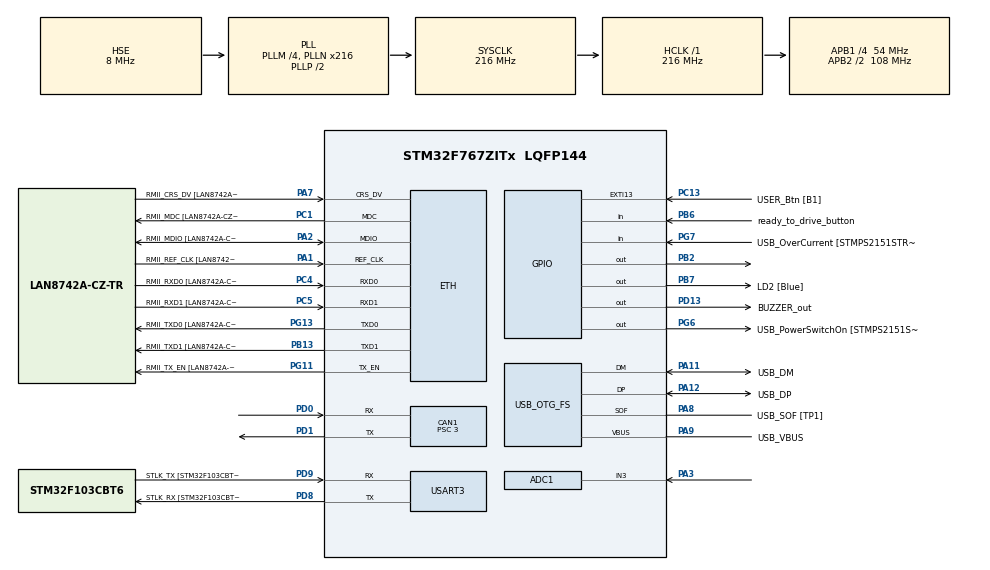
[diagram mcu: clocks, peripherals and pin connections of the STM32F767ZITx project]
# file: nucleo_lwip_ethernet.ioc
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ADC1.Channel-5\#ChannelRegularConversion=ADC_CHANNEL_3
ADC1.NbrOfConversionFlag=1
ADC1.Rank-5\#ChannelRegularConversion=1
ADC1.SamplingTime-5\#ChannelRegularConversion=ADC_SAMPLETIME_3CYCLES
ADC1.master=1
CAN1.BS1=CAN_BS1_15TQ
CAN1.BS2=CAN_BS2_2TQ
CAN1.CalculateTimeQuantum=55.55555555555556
CAN1.Prescaler=3
CAN1.TTCM=ENABLE
CAN1.TXFP=ENABLE
ETH.MediaInterface=ETH_MEDIA_INTERFACE_RMII
ETH.PHY_Name=LAN8742A_PHY_ADDRESS
ETH.PHY_Value=0
ETH.PhyAddress=0
LWIP.IP_ADDRESS=192.168.001.051
LWIP.LWIP_DHCP=0
LWIP.LWIP_HTTPD=0
LWIP.NETMASK_ADDRESS=255.255.255.000
LWIP.Version=v2.0.3_Cube
Mcu.Family=STM32F7
Mcu.Name=STM32F767ZITx
Mcu.Package=LQFP144
NVIC.CAN1_RX0_IRQn=true\:0\:0\:false\:false\:true\:true
NVIC.CAN1_RX1_IRQn=true\:0\:0\:false\:false\:true\:true
NVIC.CAN1_SCE_IRQn=true\:0\:0\:false\:false\:true\:true
NVIC.CAN1_TX_IRQn=true\:0\:0\:false\:false\:true\:true
NVIC.ETH_IRQn=true\:0\:0\:false\:false\:true\:true
NVIC.PriorityGroup=NVIC_PRIORITYGROUP_4
PA1.GPIO_Label=RMII_REF_CLK [LAN8742A-CZ-TR_REFCLK0]
PA1.Mode=RMII
PA1.Signal=ETH_REF_CLK
PA10.GPIO_Label=USB_ID
PA10.Signal=USB_OTG_FS_ID
PA11.GPIO_Label=USB_DM
PA11.Mode=Device_Only
PA11.Signal=USB_OTG_FS_DM
PA12.GPIO_Label=USB_DP
PA12.Mode=Device_Only
PA12.Signal=USB_OTG_FS_DP
PA13.GPIO_Label=TMS
PA13.Mode=Serial_Wire
PA13.Signal=SYS_JTMS-SWDIO
PA14.GPIO_Label=TCK
PA14.Mode=Serial_Wire
PA14.Signal=SYS_JTCK-SWCLK
PA2.GPIO_Label=RMII_MDIO [LAN8742A-CZ-TR_MDIO]
PA2.Mode=RMII
PA2.Signal=ETH_MDIO
PA3.Signal=ADCx_IN3
PA7.GPIO_Label=RMII_CRS_DV [LAN8742A-CZ-TR_CRS_DV]
PA7.Mode=RMII
PA7.Signal=ETH_CRS_DV
PA8.GPIO_Label=USB_SOF [TP1]
PA8.Mode=Activate_SOF_FS
PA8.Signal=USB_OTG_FS_SOF
PA9.GPIO_Label=USB_VBUS
PA9.Mode=Activate_VBUS
PA9.Signal=USB_OTG_FS_VBUS
PB13.GPIO_Label=RMII_TXD1 [LAN8742A-CZ-TR_TXD1]
PB13.Mode=RMII
PB13.Signal=ETH_TXD1
PB2.Signal=GPIO_Output
PB3.GPIO_Label=SWO
PB3.Signal=SYS_JTDO-SWO
PB6.GPIO_Label=ready_to_drive_button
PB6.GPIO_PuPd=GPIO_PULLDOWN
PB6.Signal=GPIO_Input
PB7.GPIO_Label=LD2 [Blue]
PB7.Signal=GPIO_Output
PC1.GPIO_Label=RMII_MDC [LAN8742A-CZ-TR_MDC]
PC1.Mode=RMII
PC1.Signal=ETH_MDC
PC13.GPIO_Label=USER_Btn [B1]
PC13.Signal=GPXTI13
PC14/OSC32_IN.Mode=LSE-External-Oscillator
PC14/OSC32_IN.Signal=RCC_OSC32_IN
PC15/OSC32_OUT.Mode=LSE-External-Oscillator
PC15/OSC32_OUT.Signal=RCC_OSC32_OUT
PC4.GPIO_Label=RMII_RXD0 [LAN8742A-CZ-TR_RXD0]
PC4.Mode=RMII
PC4.Signal=ETH_RXD0
PC5.GPIO_Label=RMII_RXD1 [LAN8742A-CZ-TR_RXD1]
PC5.Mode=RMII
PC5.Signal=ETH_RXD1
PD0.Mode=Master
PD0.Signal=CAN1_RX
PD1.Mode=Master
PD1.Signal=CAN1_TX
PD13.GPIO_Label=BUZZER_out
PD13.GPIO_PuPd=GPIO_NOPULL
PD13.Signal=GPIO_Output
PD8.GPIO_Label=STLK_RX [STM32F103CBT6_PA3]
PD8.Mode=Asynchronous
PD8.Signal=USART3_TX
PD9.GPIO_Label=STLK_TX [STM32F103CBT6_PA2]
PD9.Mode=Asynchronous
PD9.Signal=USART3_RX
PG11.GPIO_Label=RMII_TX_EN [LAN8742A-CZ-TR_TXEN]
PG11.Mode=RMII
PG11.Signal=ETH_TX_EN
PG13.GPIO_Label=RMII_TXD0 [LAN8742A-CZ-TR_TXD0]
PG13.Mode=RMII
PG13.Signal=ETH_TXD0
PG6.GPIO_Label=USB_PowerSwitchOn [STMPS2151STR_EN]
PG6.Signal=GPIO_Output
PG7.GPIO_Label=USB_OverCurrent [STMPS2151STR_FAULT]
PG7.Signal=GPIO_Input
PH0/OSC_IN.GPIO_Label=MCO [STM32F103CBT6_PA8]
PH0/OSC_IN.Mode=HSE-External-Clock-Source
PH0/OSC_IN.Signal=RCC_OSC_IN
PH1/OSC_OUT.Mode=HSE-External-Clock-Source
PH1/OSC_OUT.Signal=RCC_OSC_OUT
ProjectManager.HeapSize=0x200
ProjectManager.StackSize=0x400
ProjectManager.TargetToolchain=SW4STM32
RCC.48MHZClocksFreq_Value=24000000
RCC.AHBFreq_Value=216000000
RCC.APB1CLKDivider=RCC_HCLK_DIV4
RCC.APB1Freq_Value=54000000
RCC.APB1TimFreq_Value=108000000
RCC.APB2CLKDivider=RCC_HCLK_DIV2
RCC.APB2Freq_Value=108000000
RCC.APB2TimFreq_Value=216000000
RCC.CortexFreq_Value=216000000
RCC.HCLKFreq_Value=216000000
RCC.HSE_VALUE=8000000
RCC.HSI_VALUE=16000000
RCC.PLLM=4
RCC.PLLMUL=RCC_PLL_MUL9
RCC.PLLN=216
RCC.PLLQ=9
RCC.PRESCALERUSB=RCC_USBCLKSOURCE_PLL_DIV1_5
RCC.SYSCLKFreq_VALUE=216000000
RCC.SYSCLKSource=RCC_SYSCLKSOURCE_PLLCLK
RCC.SYSCLKSourceVirtual=RCC_SYSCLKSOURCE_PLLCLK
RCC.USBFreq_Value=48000000
RCC.VCOOutputFreq_Value=432000000
SH.ADCx_IN3.0=ADC1_IN3,IN3
USART3.VirtualMode-Asynchronous=VM_ASYNC
USART3.WordLength=WORDLENGTH_8B
USB_OTG_FS.VirtualMode=Device_Only
VP_LWIP_VS_Enabled.Mode=Enabled
board=NUCLEO-F767ZI

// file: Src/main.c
/**
  ******************************************************************************
  * @file           : main.c
  * @brief          : Main program body
  ******************************************************************************
  * This notice applies to any and all portions of this file
  * that are not between comment pairs USER CODE BEGIN and
  * USER CODE END. Other portions of this file, whether
  * inserted by the user or by software development tools
  * are owned by their respective copyright owners.
  *
  * Copyright (c) 2019 STMicroelectronics International N.V.
  * All rights reserved.
  *
  * Redistribution and use in source and binary forms, with or without
  * modification, are permitted, provided that the following conditions are met:
  *
  * 1. Redistribution of source code must retain the above copyright notice,
  *    this list of conditions and the following disclaimer.
  * 2. Redistributions in binary form must reproduce the above copyright notice,
  *    this list of conditions and the following disclaimer in the documentation
  *    and/or other materials provided with the distribution.
  * 3. Neither the name of STMicroelectronics nor the names of other
  *    contributors to this software may be used to endorse or promote products
  *    derived from this software without specific written permission.
  * 4. This software, including modifications and/or derivative works of this
  *    software, must execute solely and exclusively on microcontroller or
  *    microprocessor devices manufactured by or for STMicroelectronics.
  * 5. Redistribution and use of this software other than as permitted under
  *    this license is void and will automatically terminate your rights under
  *    this license.
  *
  * THIS SOFTWARE IS PROVIDED BY STMICROELECTRONICS AND CONTRIBUTORS "AS IS"
  * AND ANY EXPRESS, IMPLIED OR STATUTORY WARRANTIES, INCLUDING, BUT NOT
  * LIMITED TO, THE IMPLIED WARRANTIES OF MERCHANTABILITY, FITNESS FOR A
  * PARTICULAR PURPOSE AND NON-INFRINGEMENT OF THIRD PARTY INTELLECTUAL PROPERTY
  * RIGHTS ARE DISCLAIMED TO THE FULLEST EXTENT PERMITTED BY LAW. IN NO EVENT
  * SHALL STMICROELECTRONICS OR CONTRIBUTORS BE LIABLE FOR ANY DIRECT, INDIRECT,
  * INCIDENTAL, SPECIAL, EXEMPLARY, OR CONSEQUENTIAL DAMAGES (INCLUDING, BUT NOT
  * LIMITED TO, PROCUREMENT OF SUBSTITUTE GOODS OR SERVICES; LOSS OF USE, DATA,
  * OR PROFITS; OR BUSINESS INTERRUPTION) HOWEVER CAUSED AND ON ANY THEORY OF
  * LIABILITY, WHETHER IN CONTRACT, STRICT LIABILITY, OR TORT (INCLUDING
  * NEGLIGENCE OR OTHERWISE) ARISING IN ANY WAY OUT OF THE USE OF THIS SOFTWARE,
  * EVEN IF ADVISED OF THE POSSIBILITY OF SUCH DAMAGE.
  *
  ******************************************************************************
  */
#include "main.h"
#include "stm32f7xx_hal.h"
#include "lwip.h"

/* USER CODE BEGIN Includes */
#include  <errno.h>
#include  <sys/unistd.h> // STDOUT_FILENO, STDERR_FILENO
#include  <stdlib.h>
#include  <stdio.h>
#include  <stm32f7xx_hal_can.h>
#include "can.h"
//https://www.st.com/content/ccc/resource/technical/document/reference_manual/group0/96/8b/0d/ec/16/22/43/71/DM00224583/files/DM00224583.pdf/jcr:content/translations/en.DM00224583.pdf
/* USER CODE END Includes */

ADC_HandleTypeDef hadc1;

CAN_HandleTypeDef hcan1;

UART_HandleTypeDef huart3;

PCD_HandleTypeDef hpcd_USB_OTG_FS;

/* USER CODE BEGIN PV */
/* Private variables ---------------------------------------------------------*/

//===================== ETH ============================

ip4_addr_t destIPAddr;

//===================== CAN ============================
volatile unsigned char CAN_1_Rx_received_flg = 0x00;
volatile unsigned char CAN_1_RecData[8];
unsigned long CAN_1_specific_id_test  = 0x00;
unsigned long CAN_1_temp_id;
unsigned int  CAN_1_eid;
unsigned int  CAN_1_sid;
uint32_t CAN_1_ide;
uint32_t CAN_1_rtr;
uint32_t CAN_1_dlc;
uint32_t CAN_1_fmi;
volatile unsigned car_state;
volatile uint32_t tickstart = 0U;

//==================== TIME =========================
volatile unsigned char	Time_1_Ms_Flag = 0x00;
volatile unsigned char	Time_5_Ms_Flag = 0x00;
volatile unsigned char	Time_1_Se_Flag = 0x00;
//==================== KEEP =========================
volatile unsigned char	Keep_80[16];
volatile unsigned char	Keep_420[16];

//==================== FLAG =========================

volatile unsigned char brak_flag = 0x00;
volatile unsigned char motor_LEFT = 0x00;
volatile unsigned char motor_RIGHT = 0x00;

//==================== MAIN var =====================
volatile unsigned int count = 0;
static void init_CAN1_BGR(void);
#if 0
/*aviciis code BEGIN*/
uint32_t val;
uint32_t output;
double max_val = MAXIMUM_VAL;
double min_val = MINIMUM_VAL;
double scale = OUTPUT_SCALE;
char answer;
/*aviciis code END*/
#endif

/* USER CODE END PV */

void SystemClock_Config(void);
static void MX_GPIO_Init(void);
static void MX_USART3_UART_Init(void);
static void MX_USB_OTG_FS_PCD_Init(void);
static void MX_CAN1_Init(void);
static void MX_ADC1_Init(void);

/* USER CODE BEGIN PFP */
/* Private function prototypes -----------------------------------------------*/
int _write(int file, char *ptr, int len);
/* USER CODE END PFP */

int main(void)
{
  /* USER CODE BEGIN 1 */

	//while(1);
  /* USER CODE END 1 */

  /* MCU Configuration----------------------------------------------------------*/

  /* Reset of all peripherals, Initializes the Flash interface and the Systick. */
  HAL_Init();

  /* Configure the system clock */
  SystemClock_Config();

  /* USER CODE BEGIN SysInit */
#if 0
  /* USER CODE END SysInit */

  /* Initialize all configured peripherals */
  MX_GPIO_Init();
  MX_USART3_UART_Init();
  MX_USB_OTG_FS_PCD_Init();
  MX_LWIP_Init();
  MX_CAN1_Init();
  MX_ADC1_Init();
  /* USER CODE BEGIN 2 */
#endif

  MX_GPIO_Init();
  MX_USART3_UART_Init();
  MX_LWIP_Init();
  MX_ADC1_Init();
  init_CAN1_BGR();

	HAL_GPIO_WritePin( GPIOB , GPIO_PIN_2|LD2_Pin , GPIO_PIN_RESET);

  //============= CAN ===================
      __HAL_CAN_ENABLE_IT(&hcan1,CAN_IT_RX_FIFO0_MSG_PENDING);
      HAL_CAN_Start( &hcan1 );
  #if 1
  // standart CAN message by elik
      /* Set up the Id */
      CAN1->sTxMailBox[1U].TIR =  ((  0x80   << 21U) |  0);
      /* Set up the DLC */
      CAN1->sTxMailBox[1U].TDTR &= 0xFFFFFFF0U;
      CAN1->sTxMailBox[1U].TDTR |= 0x00000008U;
      /* Set up the data field */

      CAN1->sTxMailBox[1U].TDLR =  (0xAA << 24U) |  (0x55 << 16U) |(0xAA << 8U) | (0x55 );
      CAN1->sTxMailBox[1U].TDHR =  (0xA5 << 24U) |  (0x5A << 16U) |(0xA5 << 8U) | (0x5A );
      /* Request transmission */
      CAN1->sTxMailBox[1U].TIR  |=  CAN_TI0R_TXRQ;

  #endif

//================== ETH ==================
IP4_ADDR(&destIPAddr,192,168,1,49);

Start_Motor_1(); //set motor off
Start_Motor_2(); //set motor off

car_state = DRIVE; // initial the state; TODO write the value to the flash a

#if 1 //debug
motor_LEFT = 1;
motor_RIGHT = 1;
#endif

  /* USER CODE END 2 */

  /* Infinite loop */
  /* USER CODE BEGIN WHILE */
while(1){

	//if(can_reacive)
	//get meassage

	if( Time_5_Ms_Flag ){

		Time_5_Ms_Flag = 0x00;

 		if(Keep_420[1] == 0x00){

     		Keep_420[1] = 0x01;
 		}
 		else{
 			HAL_GPIO_WritePin( GPIOB , GPIO_PIN_2 , GPIO_PIN_SET);
 		}

		// standart CAN message by elik
		/* Set up the Id */
		CAN1->sTxMailBox[0U].TIR =  ((  0x420   << 21U) |  0);
		/* Set up the DLC */
		CAN1->sTxMailBox[0U].TDTR &= 0xFFFFFFF0U;

		CAN1->sTxMailBox[0U].TDTR |= 0x00000000U;
		/* Set up the data field */
		//CAN1->sTxMailBox[0U].TDLR =  (0xAA << 24U) |  (0x55 << 16U) |(0xAA << 8U) | (0x55 );
		//CAN1->sTxMailBox[0U].TDHR =  (0xA5 << 24U) |  (0x5A << 16U) |(0xA5 << 8U) | (0x5A );
		/* Request transmission */
		CAN1->sTxMailBox[0U].TIR  |=  CAN_TI0R_TXRQ;
	}
	if( Time_1_Se_Flag ){

 		if(Keep_80[1] == 0x00){

     		Keep_80[1] = 0x01;
 		}
 		else{
 			HAL_GPIO_WritePin( GPIOB , GPIO_PIN_2 , GPIO_PIN_SET);
 		}
		Time_1_Se_Flag = 0x00;

		// standart CAN message by elik
		/* Set up the Id */
		CAN1->sTxMailBox[1U].TIR =  ((  0x80   << 21U) |  0);
		/* Set up the DLC */
		CAN1->sTxMailBox[1U].TDTR &= 0xFFFFFFF0U;
		CAN1->sTxMailBox[1U].TDTR |= 0x00000008U;
		/* Set up the data field */
		CAN1->sTxMailBox[1U].TDLR =  (0xAA << 24U) |  (0x55 << 16U) |(0xAA << 8U) | (0x55 );
		CAN1->sTxMailBox[1U].TDHR =  (0xA5 << 24U) |  (0x5A << 16U) |(0xA5 << 8U) | (0x5A );
		/* Request transmission */
		CAN1->sTxMailBox[1U].TIR  |=  CAN_TI0R_TXRQ;

		//ask for motor state
		ASK_Motor_1();
		ASK_Motor_2();

	}

	MX_LWIP_Process();

	switch(car_state) // set the car state -- idle ready to drive
	{
	case NUTRAL:
		//if button is push and pedal value is on then move to IGNITION_TO_DRIVE
		if((HAL_GPIO_ReadPin(GPIOB,ready_to_drive_button_Pin)==1) && brak_flag) //=> Button is Pressed
			if(motor_LEFT & motor_RIGHT){
				car_state = IGNITION_TO_DRIVE;
				count = 0;
				tickstart = HAL_GetTick();
				printf("\rpress \n");
			}
		//set motor on
		break;
	case IGNITION_TO_DRIVE:
		printf("ready_to_drive_button_Pin %d brak_flag %d",HAL_GPIO_ReadPin(GPIOB,ready_to_drive_button_Pin) ,brak_flag );
		if((HAL_GPIO_ReadPin(GPIOB,ready_to_drive_button_Pin)==1) && brak_flag ){// && motor_RIGHT && motor_LEFT){ //=> Button is Pressed
			 if ((HAL_GetTick() - tickstart) > 3000U){
					car_state = BUZZER;
					tickstart = HAL_GetTick();
				}
		}
		else
		{
			printf("\DEBUG \n");
			car_state = NUTRAL;
			Start_Motor_1(); //set motor off
			Start_Motor_2(); //set motor off
		}
		//if button is push and pedal value is on and motor state is MO=1 then waite for 100 iteration , and then move to ready to drive state
		break;
	case BUZZER:
		 HAL_GPIO_WritePin(BUZZER_out_GPIO_Port, BUZZER_out_Pin, GPIO_PIN_SET);
		 if ((HAL_GetTick() - tickstart) > 2000U){
			 HAL_GPIO_WritePin(BUZZER_out_GPIO_Port, BUZZER_out_Pin, GPIO_PIN_RESET);
			 car_state = DRIVE; }
		break;
	case DRIVE:
		printf("\rDRIVE \n");
		asm("NOP");
		asm("NOP");
		asm("NOP");

		break;
	case ERROR: break;
	}

  //HAL_Delay(1000);
  //send_msg_to_start_L();
  //send_msg_to_start_R();

#if 0
  scale = 12;

  {
	HAL_ADC_Start(&hadc1);
	val=HAL_ADC_GetValue(&hadc1);
	output=( (val-min_val) / (max_val-min_val) ) * 2*scale;
	//if(output < ) output = 0;
	//output = 0;

	//answer=(char)output+48;
	answer=(char)output;
	//answer = '5';
	asm("NOP");
	printf("\rpedal value %u \n",output);
	send_msg_to_dest(answer);
	send_msg_to_dest2(answer);
	//send_msg_to_dest_R(answer);
	//send_msg_to_dest_L(answer);
#endif
  /* USER CODE END WHILE */

  /* USER CODE BEGIN 3 */

	 // MX_LWIP_Process();
	  //HAL_Delay(5);

  }
  /* USER CODE END 3 */

}

void SystemClock_Config(void)
{

  RCC_OscInitTypeDef RCC_OscInitStruct;
  RCC_ClkInitTypeDef RCC_ClkInitStruct;
  RCC_PeriphCLKInitTypeDef PeriphClkInitStruct;

    /**Configure the main internal regulator output voltage
    */
  __HAL_RCC_PWR_CLK_ENABLE();

  __HAL_PWR_VOLTAGESCALING_CONFIG(PWR_REGULATOR_VOLTAGE_SCALE1);

    /**Initializes the CPU, AHB and APB busses clocks
    */
  RCC_OscInitStruct.OscillatorType = RCC_OSCILLATORTYPE_HSE;
  RCC_OscInitStruct.HSEState = RCC_HSE_BYPASS;
  RCC_OscInitStruct.PLL.PLLState = RCC_PLL_ON;
  RCC_OscInitStruct.PLL.PLLSource = RCC_PLLSOURCE_HSE;
  RCC_OscInitStruct.PLL.PLLM = 4;
  RCC_OscInitStruct.PLL.PLLN = 216;
  RCC_OscInitStruct.PLL.PLLP = RCC_PLLP_DIV2;
  RCC_OscInitStruct.PLL.PLLQ = 9;
  if (HAL_RCC_OscConfig(&RCC_OscInitStruct) != HAL_OK)
  {
    _Error_Handler(__FILE__, __LINE__);
  }

    /**Activate the Over-Drive mode
    */
  if (HAL_PWREx_EnableOverDrive() != HAL_OK)
  {
    _Error_Handler(__FILE__, __LINE__);
  }

    /**Initializes the CPU, AHB and APB busses clocks
    */
  RCC_ClkInitStruct.ClockType = RCC_CLOCKTYPE_HCLK|RCC_CLOCKTYPE_SYSCLK
                              |RCC_CLOCKTYPE_PCLK1|RCC_CLOCKTYPE_PCLK2;
  RCC_ClkInitStruct.SYSCLKSource = RCC_SYSCLKSOURCE_PLLCLK;
  RCC_ClkInitStruct.AHBCLKDivider = RCC_SYSCLK_DIV1;
  RCC_ClkInitStruct.APB1CLKDivider = RCC_HCLK_DIV4;
  RCC_ClkInitStruct.APB2CLKDivider = RCC_HCLK_DIV2;

  if (HAL_RCC_ClockConfig(&RCC_ClkInitStruct, FLASH_LATENCY_7) != HAL_OK)
  {
    _Error_Handler(__FILE__, __LINE__);
  }

  PeriphClkInitStruct.PeriphClockSelection = RCC_PERIPHCLK_USART3|RCC_PERIPHCLK_CLK48;
  PeriphClkInitStruct.Usart3ClockSelection = RCC_USART3CLKSOURCE_PCLK1;
  PeriphClkInitStruct.Clk48ClockSelection = RCC_CLK48SOURCE_PLL;
  if (HAL_RCCEx_PeriphCLKConfig(&PeriphClkInitStruct) != HAL_OK)
  {
    _Error_Handler(__FILE__, __LINE__);
  }

    /**Configure the Systick interrupt time
    */
  HAL_SYSTICK_Config(HAL_RCC_GetHCLKFreq()/1000);

    /**Configure the Systick
    */
  HAL_SYSTICK_CLKSourceConfig(SYSTICK_CLKSOURCE_HCLK);

  /* SysTick_IRQn interrupt configuration */
  HAL_NVIC_SetPriority(SysTick_IRQn, 0, 0);
}

/* ADC1 init function */
static void MX_ADC1_Init(void)
{

  ADC_ChannelConfTypeDef sConfig;

    /**Configure the global features of the ADC (Clock, Resolution, Data Alignment and number of conversion)
    */
  hadc1.Instance = ADC1;
  hadc1.Init.ClockPrescaler = ADC_CLOCK_SYNC_PCLK_DIV4;
  hadc1.Init.Resolution = ADC_RESOLUTION_12B;
  hadc1.Init.ScanConvMode = DISABLE;
  hadc1.Init.ContinuousConvMode = DISABLE;
  hadc1.Init.DiscontinuousConvMode = DISABLE;
  hadc1.Init.ExternalTrigConvEdge = ADC_EXTERNALTRIGCONVEDGE_NONE;
  hadc1.Init.ExternalTrigConv = ADC_SOFTWARE_START;
  hadc1.Init.DataAlign = ADC_DATAALIGN_RIGHT;
  hadc1.Init.NbrOfConversion = 1;
  hadc1.Init.DMAContinuousRequests = DISABLE;
  hadc1.Init.EOCSelection = ADC_EOC_SINGLE_CONV;
  if (HAL_ADC_Init(&hadc1) != HAL_OK)
  {
    _Error_Handler(__FILE__, __LINE__);
  }

    /**Configure for the selected ADC regular channel its corresponding rank in the sequencer and its sample time.
    */
  sConfig.Channel = ADC_CHANNEL_3;
  sConfig.Rank = ADC_REGULAR_RANK_1;
  sConfig.SamplingTime = ADC_SAMPLETIME_3CYCLES;
  if (HAL_ADC_ConfigChannel(&hadc1, &sConfig) != HAL_OK)
  {
    _Error_Handler(__FILE__, __LINE__);
  }

}

/* CAN1 init function */
static void MX_CAN1_Init(void)
{

  hcan1.Instance = CAN1;
  hcan1.Init.Prescaler = 3;
  hcan1.Init.Mode = CAN_MODE_NORMAL;
  hcan1.Init.SyncJumpWidth = CAN_SJW_1TQ;
  hcan1.Init.TimeSeg1 = CAN_BS1_15TQ;
  hcan1.Init.TimeSeg2 = CAN_BS2_2TQ;
  hcan1.Init.TimeTriggeredMode = ENABLE;
  hcan1.Init.AutoBusOff = DISABLE;
  hcan1.Init.AutoWakeUp = DISABLE;
  hcan1.Init.AutoRetransmission = DISABLE;
  hcan1.Init.ReceiveFifoLocked = DISABLE;
  hcan1.Init.TransmitFifoPriority = ENABLE;
  if (HAL_CAN_Init(&hcan1) != HAL_OK)
  {
    _Error_Handler(__FILE__, __LINE__);
  }

}

/* USART3 init function */
static void MX_USART3_UART_Init(void)
{

  huart3.Instance = USART3;
  huart3.Init.BaudRate = 115200;
  huart3.Init.WordLength = UART_WORDLENGTH_8B;
  huart3.Init.StopBits = UART_STOPBITS_1;
  huart3.Init.Parity = UART_PARITY_NONE;
  huart3.Init.Mode = UART_MODE_TX_RX;
  huart3.Init.HwFlowCtl = UART_HWCONTROL_NONE;
  huart3.Init.OverSampling = UART_OVERSAMPLING_16;
  huart3.Init.OneBitSampling = UART_ONE_BIT_SAMPLE_DISABLE;
  huart3.AdvancedInit.AdvFeatureInit = UART_ADVFEATURE_NO_INIT;
  if (HAL_UART_Init(&huart3) != HAL_OK)
  {
    _Error_Handler(__FILE__, __LINE__);
  }

}

/* USB_OTG_FS init function */
static void MX_USB_OTG_FS_PCD_Init(void)
{

  hpcd_USB_OTG_FS.Instance = USB_OTG_FS;
  hpcd_USB_OTG_FS.Init.dev_endpoints = 6;
  hpcd_USB_OTG_FS.Init.speed = PCD_SPEED_FULL;
  hpcd_USB_OTG_FS.Init.dma_enable = DISABLE;
  hpcd_USB_OTG_FS.Init.ep0_mps = DEP0CTL_MPS_64;
  hpcd_USB_OTG_FS.Init.phy_itface = PCD_PHY_EMBEDDED;
  hpcd_USB_OTG_FS.Init.Sof_enable = ENABLE;
  hpcd_USB_OTG_FS.Init.low_power_enable = DISABLE;
  hpcd_USB_OTG_FS.Init.lpm_enable = DISABLE;
  hpcd_USB_OTG_FS.Init.vbus_sensing_enable = ENABLE;
  hpcd_USB_OTG_FS.Init.use_dedicated_ep1 = DISABLE;
  if (HAL_PCD_Init(&hpcd_USB_OTG_FS) != HAL_OK)
  {
    _Error_Handler(__FILE__, __LINE__);
  }

}

/** Configure pins as
        * Analog
        * Input
        * Output
        * EVENT_OUT
        * EXTI
*/
static void MX_GPIO_Init(void)
{

  GPIO_InitTypeDef GPIO_InitStruct;

  /* GPIO Ports Clock Enable */
  __HAL_RCC_GPIOC_CLK_ENABLE();
  __HAL_RCC_GPIOH_CLK_ENABLE();
  __HAL_RCC_GPIOA_CLK_ENABLE();
  __HAL_RCC_GPIOB_CLK_ENABLE();
  __HAL_RCC_GPIOD_CLK_ENABLE();
  __HAL_RCC_GPIOG_CLK_ENABLE();

  /*Configure GPIO pin Output Level */
  HAL_GPIO_WritePin(GPIOB, GPIO_PIN_2|LD2_Pin, GPIO_PIN_RESET);

  /*Configure GPIO pin Output Level */
  HAL_GPIO_WritePin(BUZZER_out_GPIO_Port, BUZZER_out_Pin, GPIO_PIN_RESET);

  /*Configure GPIO pin Output Level */
  HAL_GPIO_WritePin(USB_PowerSwitchOn_GPIO_Port, USB_PowerSwitchOn_Pin, GPIO_PIN_RESET);

  /*Configure GPIO pin : USER_Btn_Pin */
  GPIO_InitStruct.Pin = USER_Btn_Pin;
  GPIO_InitStruct.Mode = GPIO_MODE_IT_RISING;
  GPIO_InitStruct.Pull = GPIO_NOPULL;
  HAL_GPIO_Init(USER_Btn_GPIO_Port, &GPIO_InitStruct);

  /*Configure GPIO pins : PB2 LD2_Pin */
  GPIO_InitStruct.Pin = GPIO_PIN_2|LD2_Pin;
  GPIO_InitStruct.Mode = GPIO_MODE_OUTPUT_PP;
  GPIO_InitStruct.Pull = GPIO_NOPULL;
  GPIO_InitStruct.Speed = GPIO_SPEED_FREQ_LOW;
  HAL_GPIO_Init(GPIOB, &GPIO_InitStruct);

  /*Configure GPIO pin : BUZZER_out_Pin */
  GPIO_InitStruct.Pin = BUZZER_out_Pin;
  GPIO_InitStruct.Mode = GPIO_MODE_OUTPUT_PP;
  GPIO_InitStruct.Pull = GPIO_NOPULL;
  GPIO_InitStruct.Speed = GPIO_SPEED_FREQ_LOW;
  HAL_GPIO_Init(BUZZER_out_GPIO_Port, &GPIO_InitStruct);

  /*Configure GPIO pin : USB_PowerSwitchOn_Pin */
  GPIO_InitStruct.Pin = USB_PowerSwitchOn_Pin;
  GPIO_InitStruct.Mode = GPIO_MODE_OUTPUT_PP;
  GPIO_InitStruct.Pull = GPIO_NOPULL;
  GPIO_InitStruct.Speed = GPIO_SPEED_FREQ_LOW;
  HAL_GPIO_Init(USB_PowerSwitchOn_GPIO_Port, &GPIO_InitStruct);

  /*Configure GPIO pin : USB_OverCurrent_Pin */
  GPIO_InitStruct.Pin = USB_OverCurrent_Pin;
  GPIO_InitStruct.Mode = GPIO_MODE_INPUT;
  GPIO_InitStruct.Pull = GPIO_NOPULL;
  HAL_GPIO_Init(USB_OverCurrent_GPIO_Port, &GPIO_InitStruct);

  /*Configure GPIO pin : ready_to_drive_button_Pin */
  GPIO_InitStruct.Pin = ready_to_drive_button_Pin;
  GPIO_InitStruct.Mode = GPIO_MODE_INPUT;
  GPIO_InitStruct.Pull = GPIO_PULLDOWN;
  HAL_GPIO_Init(ready_to_drive_button_GPIO_Port, &GPIO_InitStruct);

}

/* USER CODE BEGIN 4 */

static void init_CAN1_BGR(void){

CAN_FilterTypeDef FilterConfig;
	  hcan1.Instance = CAN1;
	  hcan1.Init.Prescaler = 3;
	  hcan1.Init.Mode = CAN_MODE_NORMAL;
	  hcan1.Init.SyncJumpWidth = CAN_SJW_1TQ;
	  hcan1.Init.TimeSeg1 = CAN_BS1_15TQ;
	  hcan1.Init.TimeSeg2 = CAN_BS2_2TQ;
	  hcan1.Init.TimeTriggeredMode = DISABLE;
	  hcan1.Init.AutoBusOff = ENABLE;
	  hcan1.Init.AutoWakeUp = ENABLE;
	  hcan1.Init.AutoRetransmission = DISABLE;
	  hcan1.Init.ReceiveFifoLocked = DISABLE;
	  hcan1.Init.TransmitFifoPriority = DISABLE;
	  if (HAL_CAN_Init(&hcan1) != HAL_OK)
	  {
	    Error_Handler();
	  }

	  FilterConfig.FilterIdHigh = 0xFFFFU;
	  FilterConfig.FilterIdLow  = 0xFFFFU;
	  FilterConfig.FilterMaskIdHigh = 0x0000U;
	  FilterConfig.FilterMaskIdLow = 0x0000U;
	  FilterConfig.FilterFIFOAssignment = CAN_FILTER_FIFO0;
	  FilterConfig.FilterBank = 0;
	  FilterConfig.FilterMode = CAN_FILTERMODE_IDMASK;
	  FilterConfig.FilterScale = CAN_FILTERSCALE_32BIT;
	  FilterConfig.FilterActivation  = ENABLE;
	  FilterConfig.SlaveStartFilterBank  = 0;

	  HAL_CAN_ConfigFilter( &hcan1,  &FilterConfig );

}

int _write(int file, char *data, int len)
{
      HAL_UART_Transmit(&huart3, (uint8_t*)data, len, 10);
      return len;
}
/* USER CODE END 4 */

void _Error_Handler(char *file, int line)
{
  /* USER CODE BEGIN Error_Handler_Debug */
  /* User can add his own implementation to report the HAL error return state */
	printf("\r failed to %s in line %d \n",file,line);
  /* USER CODE END Error_Handler_Debug */
}

/************************ (C) COPYRIGHT STMicroelectronics *****END OF FILE****/
